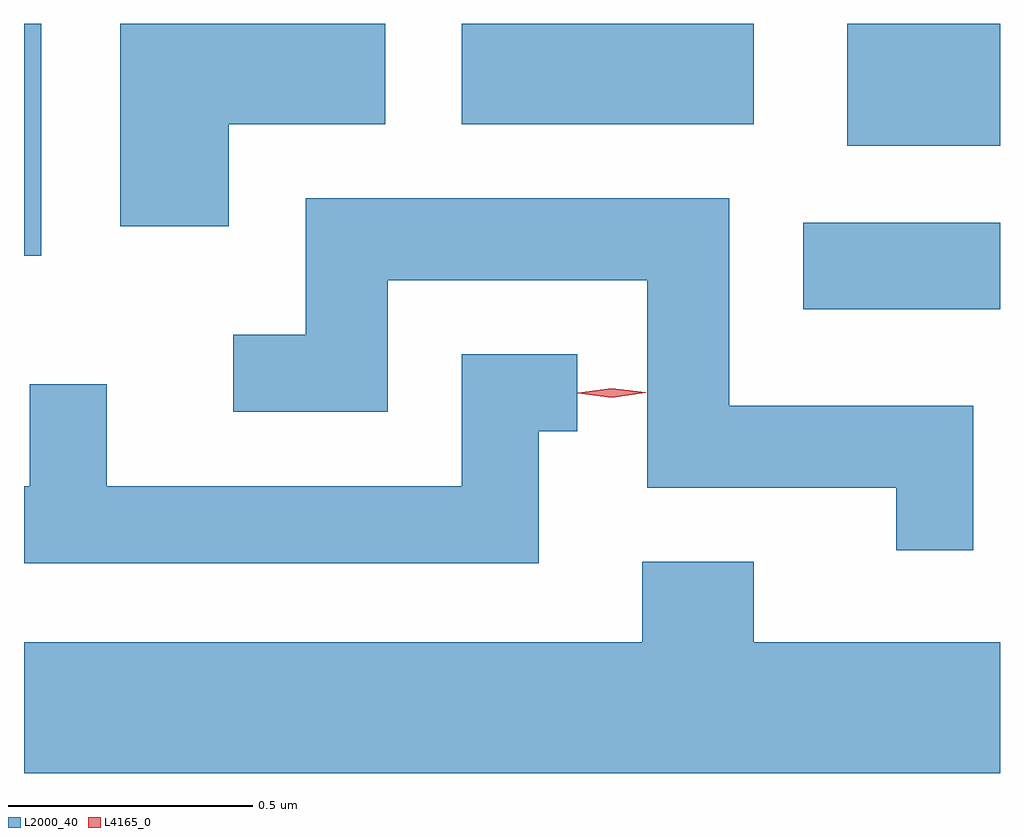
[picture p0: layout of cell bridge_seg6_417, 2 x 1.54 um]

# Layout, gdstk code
import gdstk
lib = gdstk.Library(unit=1e-6, precision=1e-09)
def R(c, l, rs):  # rectangles x0, y0, x1, y1
    for r in rs: c.add(gdstk.rectangle(r[:2], r[2:], *l))
def P(c, l, *ps):  # polygons
    for p in ps: c.add(gdstk.Polygon(p, *l))
L2000_40 = (2000, 40)
L4165_0 = (4165, 0)

bridge_seg6_417 = lib.new_cell('bridge_seg6_417')
R(bridge_seg6_417, L2000_40, [(906.061,1635.346,906.464,1635.524), (904.464,1635.456,904.499,1635.931), (906.151,1635.681,906.464,1635.931), (905.361,1635.726,905.959,1635.931)])
P(bridge_seg6_417, L2000_40, [(904.884,1635.726),(905.204,1635.726),(905.204,1635.931),(904.661,1635.931),(904.661,1635.516),(904.884,1635.516)],
  [(906.409,1635.149),(905.909,1635.149),(905.909,1635.574),(905.041,1635.574),(905.041,1635.294),(904.893,1635.294),(904.893,1635.136),(905.209,1635.136),(905.209,1635.406),(905.741,1635.406),(905.741,1634.981),(906.251,1634.981),(906.251,1634.853),(906.409,1634.853)],
  [(905.519,1635.096),(905.598,1635.096),(905.598,1635.254),(905.361,1635.254),(905.361,1634.984),(904.634,1634.984),(904.634,1635.193),(904.476,1635.193),(904.476,1634.984),(904.464,1634.984),(904.464,1634.826),(905.519,1634.826)],
  [(906.464,1634.664),(905.959,1634.664),(905.959,1634.829),(905.731,1634.829),(905.731,1634.664),(904.464,1634.664),(904.464,1634.396),(906.464,1634.396)])
P(bridge_seg6_417, L4165_0, [(905.668,1635.165),(905.599,1635.174),(905.599,1635.175),(905.599,1635.175),(905.668,1635.185),(905.738,1635.176),(905.738,1635.176),(905.738,1635.175)])

lib.write_gds('bridge_seg6_417.gds')
